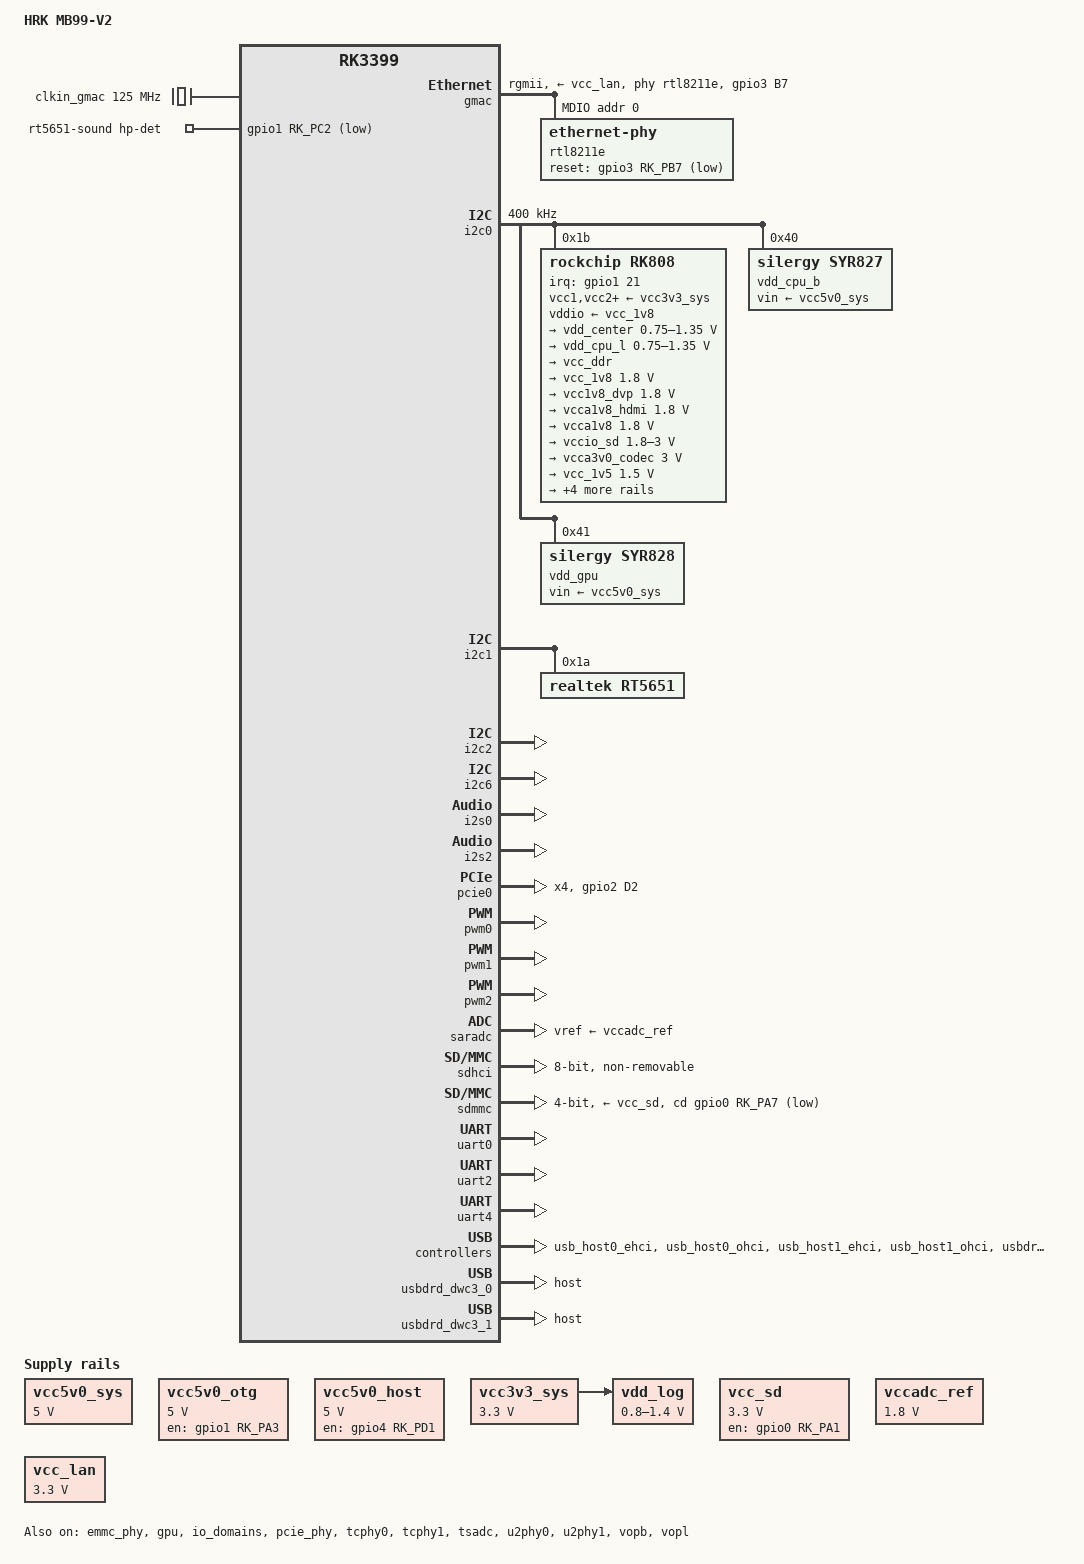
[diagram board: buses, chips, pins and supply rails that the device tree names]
/dts-v1/;

#include <dt-bindings/input/linux-event-codes.h>
#include <dt-bindings/pwm/pwm.h>
#include "rk3399.dtsi"

/ {
	model = "HRK MB99-V2";
	compatible = "hrk,mb99-v2", "rockchip,rk3399";

	aliases {
		ethernet0 = &gmac;
		mmc0 = &sdhci;
		mmc1 = &sdmmc;
	};

	chosen {
		stdout-path = "serial2:1500000n8";
	};

	clkin_gmac: external-gmac-clock {
		compatible = "fixed-clock";
		clock-frequency = <125000000>;
		clock-output-names = "clkin_gmac";
		#clock-cells = <0>;
	};

	rt5651-sound {
		compatible = "simple-audio-card";
		pinctrl-names = "default";
		pinctrl-0 = <&hp_det>;
		simple-audio-card,name = "rockchip,rt5651-codec";
		simple-audio-card,format = "i2s";
		simple-audio-card,mclk-fs = <256>;
		simple-audio-card,widgets =
			"Microphone", "Mic Jack",
			"Headphone", "Headphones";
		simple-audio-card,routing =
			"Mic Jack", "micbias1",
			"IN1P", "Mic Jack",
			"Headphones", "HPOL",
			"Headphones", "HPOR";
		simple-audio-card,hp-det-gpio = <&gpio1 RK_PC2 GPIO_ACTIVE_LOW>;

		simple-audio-card,cpu {
			sound-dai = <&i2s0>;
		};

		simple-audio-card,codec {
			sound-dai = <&rt5651>;
		};
	};

	vcc5v0_sys: regulator-vcc5v0-sys {
		compatible = "regulator-fixed";
		regulator-name = "vcc5v0_sys";
		regulator-always-on;
		regulator-boot-on;
		regulator-min-microvolt = <5000000>;
		regulator-max-microvolt = <5000000>;
	};

	vcc5v0_otg: regulator-vcc5v0-otg {
		compatible = "regulator-fixed";
		enable-active-high;
		gpio = <&gpio1 RK_PA3 GPIO_ACTIVE_HIGH>;
		pinctrl-names = "default";
		pinctrl-0 = <&vcc5v0_otg_en>;
		regulator-name = "vcc5v0_otg";
		regulator-always-on;
		regulator-boot-on;
		regulator-min-microvolt = <5000000>;
		regulator-max-microvolt = <5000000>;
	};

	vcc5v0_host: regulator-vcc5v0-host {
		compatible = "regulator-fixed";
		enable-active-high;
		gpio = <&gpio4 RK_PD1 GPIO_ACTIVE_HIGH>;
		pinctrl-names = "default";
		pinctrl-0 = <&vcc5v0_host_en>;
		regulator-name = "vcc5v0_host";
		regulator-always-on;
		regulator-boot-on;
		regulator-min-microvolt = <5000000>;
		regulator-max-microvolt = <5000000>;
	};

	vcc3v3_sys: regulator-vcc3v3-sys {
		compatible = "regulator-fixed";
		regulator-name = "vcc3v3_sys";
		regulator-always-on;
		regulator-boot-on;
		regulator-min-microvolt = <3300000>;
		regulator-max-microvolt = <3300000>;
	};

	vcc_sd: regulator-vcc-sd {
		compatible = "regulator-fixed";
		enable-active-high;
		gpio = <&gpio0 RK_PA1 GPIO_ACTIVE_HIGH>;
		pinctrl-names = "default";
		pinctrl-0 = <&sdmmc0_pwr_h>;
		regulator-name = "vcc_sd";
		regulator-always-on;
		regulator-boot-on;
		regulator-min-microvolt = <3300000>;
		regulator-max-microvolt = <3300000>;
	};

	vccadc_ref: regulator-vccadc-ref {
		compatible = "regulator-fixed";
		regulator-name = "vccadc_ref";
		regulator-always-on;
		regulator-boot-on;
		regulator-min-microvolt = <1800000>;
		regulator-max-microvolt = <1800000>;
	};

	vcc_lan: regulator-vcc-lan {
		compatible = "regulator-fixed";
		regulator-name = "vcc_lan";
		regulator-always-on;
		regulator-boot-on;
		regulator-min-microvolt = <3300000>;
		regulator-max-microvolt = <3300000>;
	};

	vdd_log: regulator-vdd-log {
		compatible = "pwm-regulator";
		pwms = <&pwm2 0 25000 1>;
		pwm-supply = <&vcc3v3_sys>;
		regulator-name = "vdd_log";
		regulator-always-on;
		regulator-boot-on;
		regulator-min-microvolt = <800000>;
		regulator-max-microvolt = <1400000>;
	};
};

&cpu_l0 {
	cpu-supply = <&vdd_cpu_l>;
};

&cpu_l1 {
	cpu-supply = <&vdd_cpu_l>;
};

&cpu_l2 {
	cpu-supply = <&vdd_cpu_l>;
};

&cpu_l3 {
	cpu-supply = <&vdd_cpu_l>;
};

&cpu_b0 {
	cpu-supply = <&vdd_cpu_b>;
};

&cpu_b1 {
	cpu-supply = <&vdd_cpu_b>;
};

&emmc_phy {
	status = "okay";
};

&gmac {
	assigned-clock-parents = <&clkin_gmac>;
	assigned-clocks = <&cru SCLK_RMII_SRC>;
	clock_in_out = "input";
	pinctrl-names = "default";
	pinctrl-0 = <&rgmii_pins>, <&phy_rst_l>;
	phy-handle = <&rtl8211e>;
	phy-mode = "rgmii";
	phy-supply = <&vcc_lan>;
	tx_delay = <0x28>;
	rx_delay = <0x11>;
	status = "okay";

	mdio {
		compatible = "snps,dwmac-mdio";
		#address-cells = <1>;
		#size-cells = <0>;

		rtl8211e: ethernet-phy@0 {
			reg = <0>;
			reset-assert-us = <10000>;
			reset-deassert-us = <30000>;
			reset-gpios = <&gpio3 RK_PB7 GPIO_ACTIVE_LOW>;
		};
	};
};

&gpu {
	mali-supply = <&vdd_gpu>;
	status = "okay";
};

&i2c0 {
	clock-frequency = <400000>;
	i2c-scl-rising-time-ns = <168>;
	i2c-scl-falling-time-ns = <4>;
	status = "okay";

	rk808: pmic@1b {
		compatible = "rockchip,rk808";
		reg = <0x1b>;
		interrupt-parent = <&gpio1>;
		interrupts = <21 IRQ_TYPE_LEVEL_LOW>;
		#clock-cells = <1>;
		clock-output-names = "xin32k", "rk808-clkout2";
		pinctrl-names = "default";
		pinctrl-0 = <&pmic_int_l>;
		system-power-controller;
		wakeup-source;

		vcc1-supply = <&vcc3v3_sys>;
		vcc2-supply = <&vcc3v3_sys>;
		vcc3-supply = <&vcc3v3_sys>;
		vcc4-supply = <&vcc3v3_sys>;
		vcc6-supply = <&vcc3v3_sys>;
		vcc7-supply = <&vcc3v3_sys>;
		vcc8-supply = <&vcc3v3_sys>;
		vcc9-supply = <&vcc3v3_sys>;
		vcc10-supply = <&vcc3v3_sys>;
		vcc11-supply = <&vcc3v3_sys>;
		vcc12-supply = <&vcc3v3_sys>;
		vddio-supply = <&vcc_1v8>;

		regulators {
			vdd_center: DCDC_REG1 {
				regulator-name = "vdd_center";
				regulator-always-on;
				regulator-boot-on;
				regulator-min-microvolt = <750000>;
				regulator-max-microvolt = <1350000>;
				regulator-ramp-delay = <6001>;
				regulator-state-mem {
					regulator-off-in-suspend;
				};
			};

			vdd_cpu_l: DCDC_REG2 {
				regulator-name = "vdd_cpu_l";
				regulator-always-on;
				regulator-boot-on;
				regulator-min-microvolt = <750000>;
				regulator-max-microvolt = <1350000>;
				regulator-ramp-delay = <6001>;
				regulator-state-mem {
					regulator-off-in-suspend;
				};
			};

			vcc_ddr: DCDC_REG3 {
				regulator-name = "vcc_ddr";
				regulator-always-on;
				regulator-boot-on;
				regulator-state-mem {
					regulator-on-in-suspend;
				};
			};

			vcc_1v8: DCDC_REG4 {
				regulator-name = "vcc_1v8";
				regulator-always-on;
				regulator-boot-on;
				regulator-min-microvolt = <1800000>;
				regulator-max-microvolt = <1800000>;
				regulator-state-mem {
					regulator-on-in-suspend;
					regulator-suspend-microvolt = <1800000>;
				};
			};

			vcc1v8_dvp: LDO_REG1 {
				regulator-name = "vcc1v8_dvp";
				regulator-always-on;
				regulator-boot-on;
				regulator-min-microvolt = <1800000>;
				regulator-max-microvolt = <1800000>;
				regulator-state-mem {
					regulator-off-in-suspend;
				};
			};

			vcca1v8_hdmi: LDO_REG2 {
				regulator-name = "vcca1v8_hdmi";
				regulator-min-microvolt = <1800000>;
				regulator-max-microvolt = <1800000>;
				regulator-state-mem {
					regulator-off-in-suspend;
				};
			};

			vcca1v8: LDO_REG3 {
				regulator-name = "vcca1v8";
				regulator-always-on;
				regulator-boot-on;
				regulator-min-microvolt = <1800000>;
				regulator-max-microvolt = <1800000>;
				regulator-state-mem {
					regulator-on-in-suspend;
					regulator-suspend-microvolt = <1800000>;
				};
			};

			vccio_sd: LDO_REG4 {
				regulator-name = "vccio_sd";
				regulator-always-on;
				regulator-boot-on;
				regulator-min-microvolt = <1800000>;
				regulator-max-microvolt = <3000000>;
				regulator-state-mem {
					regulator-off-in-suspend;
				};
			};

			vcca3v0_codec: LDO_REG5 {
				regulator-name = "vcca3v0_codec";
				regulator-always-on;
				regulator-boot-on;
				regulator-min-microvolt = <3000000>;
				regulator-max-microvolt = <3000000>;
				regulator-state-mem {
					regulator-off-in-suspend;
				};
			};

			vcc_1v5: LDO_REG6 {
				regulator-name = "vcc_1v5";
				regulator-always-on;
				regulator-boot-on;
				regulator-min-microvolt = <1500000>;
				regulator-max-microvolt = <1500000>;
				regulator-state-mem {
					regulator-off-in-suspend;
				};
			};

			vcca0v9_hdmi: LDO_REG7 {
				regulator-name = "vcca0v9_hdmi";
				regulator-always-on;
				regulator-boot-on;
				regulator-min-microvolt = <900000>;
				regulator-max-microvolt = <900000>;
				regulator-state-mem {
					regulator-off-in-suspend;
				};
			};

			vcc_3v0: LDO_REG8 {
				regulator-name = "vcc_3v0";
				regulator-always-on;
				regulator-boot-on;
				regulator-min-microvolt = <3000000>;
				regulator-max-microvolt = <3000000>;
				regulator-state-mem {
					regulator-off-in-suspend;
				};
			};

			vcc3v3_s3: SWITCH_REG1 {
				regulator-name = "vcc3v3_s3";
				regulator-always-on;
				regulator-boot-on;
				regulator-state-mem {
					regulator-on-in-suspend;
				};
			};

			vcc3v3_s0: SWITCH_REG2 {
				regulator-name = "vcc3v3_s0";
				regulator-state-mem {
					regulator-off-in-suspend;
				};
			};
		};
	};

	vdd_cpu_b: regulator@40 {
		compatible = "silergy,syr827";
		reg = <0x40>;
		fcs,suspend-voltage-selector = <1>;
		pinctrl-names = "default";
		pinctrl-0 = <&vsel1_pin>;
		regulator-name = "vdd_cpu_b";
		regulator-min-microvolt = <712500>;
		regulator-max-microvolt = <1500000>;
		regulator-ramp-delay = <1000>;
		regulator-always-on;
		regulator-boot-on;
		vin-supply = <&vcc5v0_sys>;

		regulator-state-mem {
			regulator-off-in-suspend;
		};
	};

	vdd_gpu: regulator@41 {
		compatible = "silergy,syr828";
		reg = <0x41>;
		fcs,suspend-voltage-selector = <1>;
		pinctrl-names = "default";
		pinctrl-0 = <&vsel2_pin>;
		regulator-name = "vdd_gpu";
		regulator-min-microvolt = <712500>;
		regulator-max-microvolt = <1500000>;
		regulator-ramp-delay = <1000>;
		regulator-always-on;
		regulator-boot-on;
		vin-supply = <&vcc5v0_sys>;

		regulator-state-mem {
			regulator-off-in-suspend;
		};
	};
};

&i2c1 {
	i2c-scl-rising-time-ns = <300>;
	i2c-scl-falling-time-ns = <15>;
	status = "okay";

	rt5651: rt5651@1a {
		compatible = "realtek,rt5651";
		reg = <0x1a>;
		clocks = <&cru SCLK_I2S_8CH_OUT>;
		clock-names = "mclk";
		#sound-dai-cells = <0>;
	};
};

&i2c2 {
	status = "okay";
};

&i2c6 {
	status = "okay";
};

&i2s0 {
	status = "okay";
};

&i2s2 {
	status = "okay";
};

&io_domains {
	bt656-supply = <&vcc_1v8>;
	audio-supply = <&vcc_1v8>;
	sdmmc-supply = <&vccio_sd>;
	gpio1830-supply = <&vcc_3v0>;
	status = "okay";
};

&pcie0 {
	ep-gpios = <&gpio4 RK_PD3 GPIO_ACTIVE_HIGH>;
	num-lanes = <4>;
	pinctrl-0 = <&pcie_clkreqn>;
	pinctrl-names = "default";
	status = "okay";
};

&pcie_phy {
	status = "okay";
};

&pinctrl {
	gmac {
		phy_rst_l: phy-rst-l {
			rockchip,pins = <3 RK_PB7 RK_FUNC_GPIO &pcfg_pull_none>;
		};
	};

	rt5651 {
		hp_det: hp-det {
			rockchip,pins = <1 RK_PC2 RK_FUNC_GPIO &pcfg_pull_none>;
		};
	};

	pcie {
		pcie_clkreqn: pci-clkreqn {
			rockchip,pins = <2 RK_PD2 2 &pcfg_pull_none>;
		};
	};

	pmic {
		pmic_int_l: pmic-int-l {
			rockchip,pins = <1 RK_PC5 RK_FUNC_GPIO &pcfg_pull_up>;
		};

		vsel1_pin: vsel1-pin {
			rockchip,pins = <1 RK_PC1 RK_FUNC_GPIO &pcfg_pull_down>;
		};

		vsel2_pin: vsel2-pin {
			rockchip,pins = <1 RK_PB6 RK_FUNC_GPIO &pcfg_pull_down>;
		};
	};

	sdmmc {
		sdmmc0_pwr_h: sdmmc0-pwr-h {
			rockchip,pins = <0 RK_PA1 RK_FUNC_GPIO &pcfg_pull_none>;
		};
	};

	usb2 {
		vcc5v0_otg_en: vcc5v0-otg-en {
			rockchip,pins = <1 RK_PA3 RK_FUNC_GPIO &pcfg_pull_none>;
		};

		vcc5v0_host_en: vcc5v0-host-en {
			rockchip,pins = <4 RK_PD1 RK_FUNC_GPIO &pcfg_pull_none>;
		};
	};
};

&pmu_io_domains {
	pmu1830-supply = <&vcc_1v8>;
	status = "okay";
};

&pwm0 {
	status = "okay";
};

&pwm1 {
	status = "okay";
};

&pwm2 {
	status = "okay";
};

&saradc {
	vref-supply = <&vccadc_ref>;
	status = "okay";
};

&sdhci {
	max-frequency = <150000000>;
	bus-width = <8>;
	mmc-hs200-1_8v;
	non-removable;
	status = "okay";
};

&sdmmc {
	bus-width = <4>;
	cap-mmc-highspeed;
	cap-sd-highspeed;
	cd-gpios = <&gpio0 RK_PA7 GPIO_ACTIVE_LOW>;
	disable-wp;
	max-frequency = <150000000>;
	pinctrl-names = "default";
	pinctrl-0 = <&sdmmc_clk &sdmmc_cd &sdmmc_cmd &sdmmc_bus4>;
	vmmc-supply = <&vcc_sd>;
	vqmmc-supply = <&vccio_sd>;
	sd-uhs-sdr104;
	status = "okay";
};

&tcphy0 {
	status = "okay";
};

&tcphy1 {
	status = "okay";
};

&tsadc {
	/* tshut mode 0:CRU 1:GPIO */
	rockchip,hw-tshut-mode = <1>;
	/* tshut polarity 0:LOW 1:HIGH */
	rockchip,hw-tshut-polarity = <1>;
	status = "okay";
};

&u2phy0 {
	status = "okay";

	u2phy0_host: host-port {
		phy-supply = <&vcc5v0_otg>;
		status = "okay";
	};
};

&u2phy1 {
	status = "okay";

	u2phy1_host: host-port {
		phy-supply = <&vcc5v0_host>;
		status = "okay";
	};
};

&uart0 {
	status = "okay";
};

&uart2 {
	status = "okay";
};

&uart4 {
	status = "okay";
};

&usb_host0_ehci {
	status = "okay";
};

&usb_host0_ohci {
	status = "okay";
};

&usb_host1_ehci {
	status = "okay";
};

&usb_host1_ohci {
	status = "okay";
};

&usbdrd3_0 {
	status = "okay";
};

&usbdrd_dwc3_0 {
	dr_mode = "host";
	status = "okay";
};

&usbdrd3_1 {
	status = "okay";
};

&usbdrd_dwc3_1 {
	dr_mode = "host";
	status = "okay";
};

&vopb {
	status = "okay";
};

&vopb_mmu {
	status = "okay";
};

&vopl {
	status = "okay";
};

&vopl_mmu {
	status = "okay";
};

